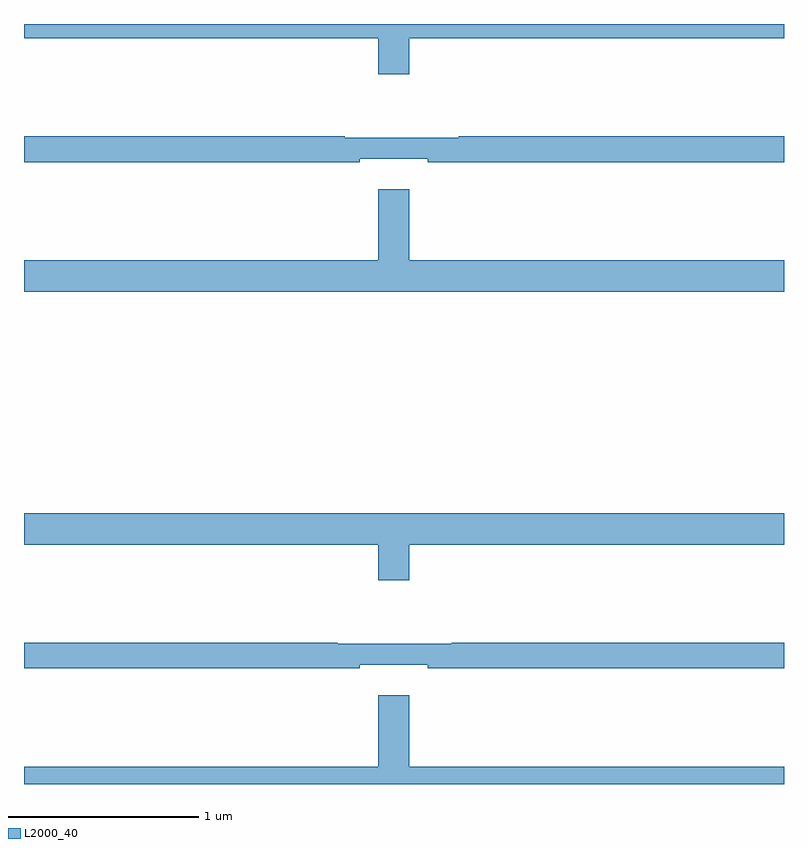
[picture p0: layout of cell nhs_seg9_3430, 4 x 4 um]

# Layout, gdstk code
import gdstk
lib = gdstk.Library(unit=1e-6, precision=1e-09)
def P(c, l, *ps):  # polygons
    for p in ps: c.add(gdstk.Polygon(p, *l))
L2000_40 = (2000, 40)

nhs_seg9_3430 = lib.new_cell('nhs_seg9_3430')
P(nhs_seg9_3430, L2000_40, [(309.028,1192.424),(311,1192.424),(311,1192.5),(307,1192.5),(307,1192.424),(308.864,1192.424),(308.864,1192.236),(309.028,1192.236)],
  [(308.768,1191.791),(309.124,1191.791),(309.124,1191.772),(311,1191.772),(311,1191.908),(309.287,1191.908),(309.287,1191.901),(308.687,1191.901),(308.687,1191.908),(307,1191.908),(307,1191.772),(308.768,1191.772)],
  [(311,1191.256),(309.028,1191.256),(309.028,1191.631),(308.864,1191.631),(308.864,1191.256),(307,1191.256),(307,1191.092),(311,1191.092)],
  [(309.028,1189.76),(311,1189.76),(311,1189.924),(307,1189.924),(307,1189.76),(308.864,1189.76),(308.864,1189.572),(309.028,1189.572)],
  [(308.768,1189.127),(309.124,1189.127),(309.124,1189.108),(311,1189.108),(311,1189.244),(309.251,1189.244),(309.251,1189.237),(308.651,1189.237),(308.651,1189.244),(307,1189.244),(307,1189.108),(308.768,1189.108)],
  [(311,1188.592),(309.028,1188.592),(309.028,1188.967),(308.864,1188.967),(308.864,1188.592),(307,1188.592),(307,1188.5),(311,1188.5)])

lib.write_gds('nhs_seg9_3430.gds')
